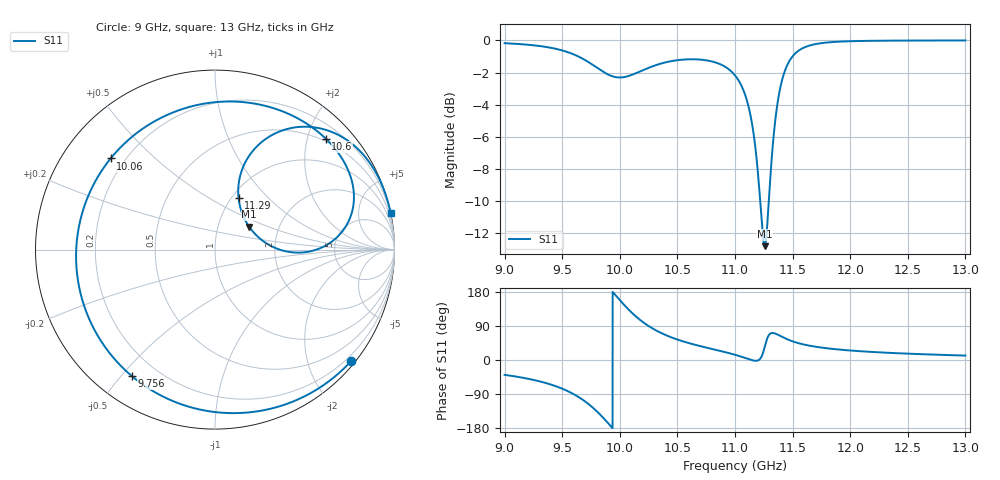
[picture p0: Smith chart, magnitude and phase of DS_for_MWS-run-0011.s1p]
! TOUCHSTONE file generated by CST DESIGN STUDIO
! Date and time: Tue Feb  4 14:40:49 2025
! Project name: C:\Work\MatlabApps\UnitCellOptimizationMatlab\CST\unitcell.cst
! Tree item: Tasks\Sweep1\SPara1\S-Parameters
! Header version: 2024
! Port assignment regex: !\s*Touchstone port\s*([0-9]+)\s*=\s*(CST MWS port|CST DES external port|CST DES block port)\s*(.+)\s* \(\"(.*)\"\)(\s*mode\s*([0-9]+))?.*
! Touchstone port assignment:
! Touchstone port 1 = CST DES external port 1 ("")
# GHz S MA R 50
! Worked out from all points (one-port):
!   4001 points, 9 GHz to 13 GHz, reference 50 ohm
!   lowest |S11| = -12.8 dB at 11.26 GHz (marker M1), VSWR 1.59, Z = 70.6 + j19 ohm
!   |S11| at or under -10 dB: 11.22 GHz to 11.29 GHz (74.67 MHz wide, 0.663 % of centre)
!   S11 on the Smith chart (normalised r, x): 9 GHz: 0.09, -2.80; 9.756 GHz: 0.11, -0.54; 10.06 GHz: 0.15, +0.37; 10.6 GHz: 0.45, +2.34; 11.29 GHz: 1.08, +0.68; 13 GHz: 0.01, +9.80
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9  0.9804 -39.2
9.282  0.963 -54.7
9.5  0.9309 -75.7
9.643  0.8904 -97.9
9.756  0.8436 -123.2
9.888  0.7868 -163.1
9.944  0.7719 177.6
10  0.7669 158.1
10.058  0.772 138.8
10.141  0.7908 114.6
10.233  0.8171 93.1
10.362  0.8483 70.8
10.5  0.868 54.0
10.595  0.8735 45.0
10.812  0.8579 28.3
11  0.7786 13.8
11.092  0.6708 5.0
11.169  0.4894 -1.9
11.215  0.3293 2.1
11.257  0.2292 33.8
11.293  0.3148 65.3
11.339  0.5206 70.8
11.387  0.6953 64.5
11.5  0.8924 49.3
11.686  0.972 35.7
12  0.9944 25.1
12.5  0.9991 16.7
13  0.9998 11.7
